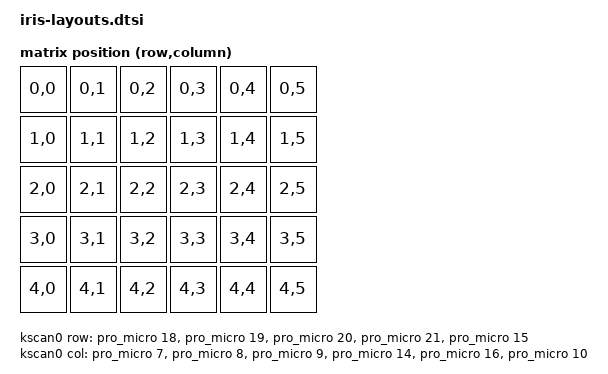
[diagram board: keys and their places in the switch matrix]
/*
 * Copyright (c) 2026 Your Name
 * SPDX-License-Identifier: MIT
 */

#include <dt-bindings/zmk/matrix_transform.h>

/ {
    chosen {
        zmk,kscan = &kscan0;
        zmk,matrix-transform = &default_transform;
    };

    default_transform: keymap_transform_0 {
        compatible = "zmk,matrix-transform";
        columns = <6>;
        rows = <5>;
        
        // Map the physical keys to the matrix rows (R) and columns (C)
        map = <
    RC(0,0) RC(0,1) RC(0,2) RC(0,3) RC(0,4) RC(0,5)
    RC(1,0) RC(1,1) RC(1,2) RC(1,3) RC(1,4) RC(1,5)
    RC(2,0) RC(2,1) RC(2,2) RC(2,3) RC(2,4) RC(2,5)
    RC(3,0) RC(3,1) RC(3,2) RC(3,3) RC(3,4) RC(3,5)
    RC(4,0) RC(4,1) RC(4,2) RC(4,3) RC(4,4) RC(4,5)
        >;
    };

    kscan0: kscan {
        compatible = "zmk,kscan-gpio-matrix";
        wakeup-source;

        // Change to "row2col" if your physical diodes point from rows to columns
        diode-direction = "col2row";

        row-gpios
            = <&pro_micro 18 (GPIO_ACTIVE_HIGH | GPIO_PULL_DOWN)> // F4  (Row 0)
            , <&pro_micro 19 (GPIO_ACTIVE_HIGH | GPIO_PULL_DOWN)> // F5  (Row 1)
            , <&pro_micro 20 (GPIO_ACTIVE_HIGH | GPIO_PULL_DOWN)> // F6  (Row 2)
            , <&pro_micro 21 (GPIO_ACTIVE_HIGH | GPIO_PULL_DOWN)> // F7  (Row 3)
            , <&pro_micro 15 (GPIO_ACTIVE_HIGH | GPIO_PULL_DOWN)> // B1  (Row 4)
            ;

        col-gpios
            = <&pro_micro  7 GPIO_ACTIVE_HIGH> // E6  (Col 0 - Leftmost column)
            , <&pro_micro  8 GPIO_ACTIVE_HIGH> // B4  (Col 1)
            , <&pro_micro  9 GPIO_ACTIVE_HIGH> // B5  (Col 2)
            , <&pro_micro 14 GPIO_ACTIVE_HIGH> // B3  (Col 3)
            , <&pro_micro 16 GPIO_ACTIVE_HIGH> // B2  (Col 4)
            , <&pro_micro 10 GPIO_ACTIVE_HIGH> // B6  (Col 5 - Inner column)
            ;
    };
};z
